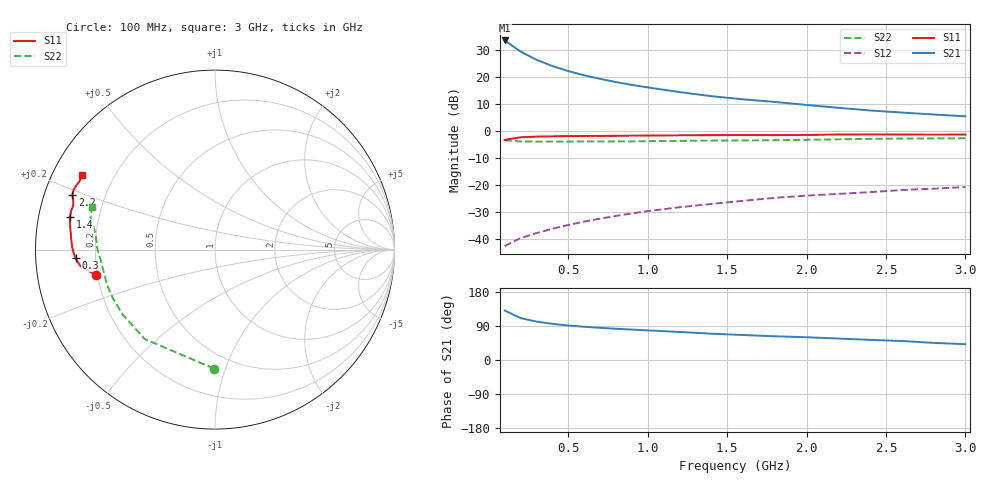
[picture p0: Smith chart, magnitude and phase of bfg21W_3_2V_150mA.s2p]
! Filename: 3_2150bfg21.001
! Title: BFG21W
! Bias: Vce=3.2V; Ic=150mA
! Company: Philips Semiconductors NL
! User: Quality&Reliability T&D
! Measure time: 10 Nov 1999 / 11:43:19
#  MHz  S  MA  R 50
! Freq  S11  S21  S12  S22  :
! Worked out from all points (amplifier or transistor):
!   20 points, 100 MHz to 3 GHz, reference 50 ohm
!   highest |S21| = 33.4 dB at 100 MHz (marker M1)
!   |S21| within 3 dB of that: start of sweep to 173.6 MHz
!   unconditionally stable (mu >= 1): 591.2 MHz to end of sweep
!   at 400 MHz: K = 0.93, MSG = 30.1 dB, |S12| = -36.3 dB
!   at 1.2 GHz: K = 1.06, MAG = 19.9 dB, |S12| = -28.3 dB
!   at 3 GHz: K = 1.05, MAG = 11.7 dB, |S12| = -20.9 dB
!   S11 on the Smith chart (normalised r, x): 100 MHz: 0.19, -0.10; 300 MHz: 0.13, -0.03; 1.4 GHz: 0.10, +0.11; 2.2 GHz: 0.08, +0.18; 3 GHz: 0.09, +0.26
100  0.6787 -167.9  46.93 130.7  0.007293 59.4  0.6635 -90.4
200  0.7553 -173.0  29.35 110.7  0.01026 56.9  0.6337 -128.1
300  0.7779 -176.4  20.64 101.4  0.01273 59.8  0.6289 -144.9
400  0.7885 -178.9  15.8 95.5  0.01532 63.5  0.6303 -154.2
500  0.7951 179.2  12.75 91.1  0.01798 66.0  0.6312 -160.1
600  0.7992 177.5  10.64 87.7  0.02074 68.0  0.6318 -164.3
700  0.8029 176.0  9.129 84.9  0.02358 69.8  0.6319 -167.6
800  0.806 174.5  7.968 82.4  0.02646 71.0  0.6333 -170.3
900  0.8101 173.0  7.066 80.3  0.0294 72.4  0.6362 -172.7
1000  0.8147 171.7  6.345 78.1  0.03251 72.9  0.64 -174.9
1200  0.8231 169.2  5.204 74.0  0.03831 73.4  0.6492 -178.3
1400  0.8281 167.2  4.369 69.5  0.04398 73.4  0.6572 178.9
1600  0.83 165.1  3.813 66.0  0.05038 73.4  0.6611 176.3
1800  0.8274 162.7  3.413 62.6  0.05724 73.2  0.6684 173.6
2000  0.836 160.8  3.002 60.0  0.06284 73.6  0.68 170.9
2200  0.851 158.9  2.66 56.6  0.0677 73.1  0.6938 168.6
2400  0.8554 157.2  2.372 53.2  0.07301 72.2  0.7075 166.9
2600  0.8513 155.3  2.171 50.1  0.0798 71.0  0.7163 165.4
2800  0.8456 153.0  1.999 45.2  0.08474 69.2  0.7199 163.4
3000  0.8497 150.5  1.85 41.7  0.09056 68.2  0.7264 160.9
